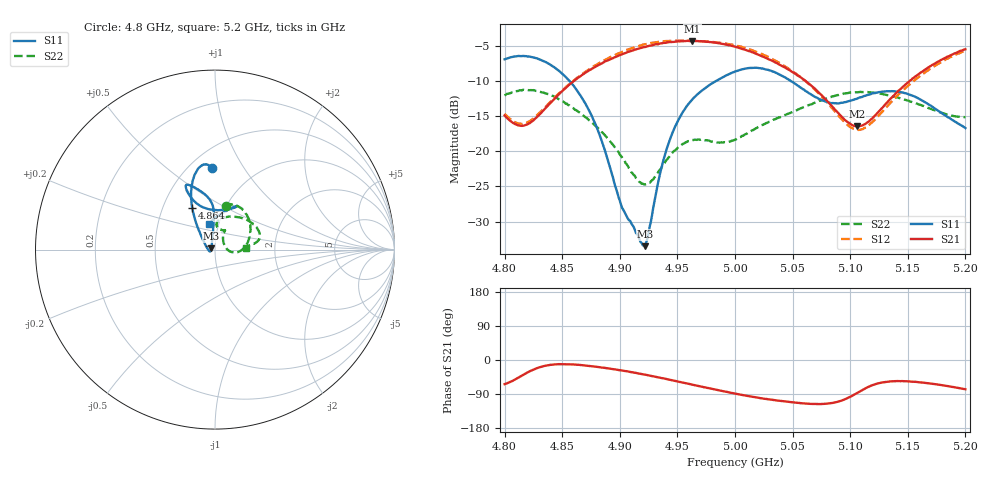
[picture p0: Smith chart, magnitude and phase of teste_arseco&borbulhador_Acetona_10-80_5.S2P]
! Network Analyzer HP8722D
! Hewlett-Packard
! Data name: Linha & Wilkinson
! Saver's name: Rodrigo Anjos
! Comments: Teste da utilização de aquisição
! continua pelo VNA HP8722D
! Time and date: 25/4/2025 15:18
!  Frequency  S11  S21  S12  S22
# HZ  S  MA R 50
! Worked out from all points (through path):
!   401 points, 4.8 GHz to 5.2 GHz, reference 50 ohm
!   highest |S21| = -4.25 dB at 4.963 GHz (marker M1); lowest = -16.4 dB at 5.106 GHz (marker M2)
!   lowest |S11| = -33.5 dB at 4.922 GHz (marker M3), VSWR 1.04, Z = 48 + j0.66 ohm
!   |S11| at or under -10 dB: 4.857 GHz to 4.983 GHz (126.7 MHz wide, 2.58 % of centre); 5.049 GHz to end of sweep
!   |S22| runs from -24.7 to -11.2 dB; largest |S21 - S12| = 1.2
!   S11 on the Smith chart (normalised r, x): 4.8 GHz: 0.64, +0.73; 4.864 GHz: 0.70, +0.35; 5.2 GHz: 0.90, +0.26
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4.8e9  0.4529 92.4  0.1802 -63.7  0.1854 69.2  0.2498 76.3
4.82e9  0.4736 98.8  0.156 -32.6  0.1618 97.8  0.2738 61.6
4.843e9  0.3983 108.3  0.236 -11.8  0.2399 118.3  0.2458 37.6
4.864e9  0.2634 118.7  0.336 -12.6  0.3387 120.6  0.1912 14.6
4.867e9  0.2415 120.3  0.349 -13.6  0.3537 120.3  0.184 11.4
4.882e9  0.1342 130.6  0.4146 -19.0  0.4259 117.6  0.144 -2.3
4.903e9  0.03845 -179.7  0.4947 -28.3  0.5151 110.6  0.08832 -7.4
4.918e9  0.02262 -169.8  0.5443 -36.5  0.5676 102.9  0.06012 14.2
4.922e9  0.02113 161.0  0.554 -38.6  0.5793 100.7  0.05817 24.3
4.925e9  0.02629 138.1  0.5636 -40.6  0.5865 98.9  0.05964 33.1
4.934e9  0.06416 103.8  0.5839 -46.3  0.6043 93.3  0.07274 51.8
4.946e9  0.1373 93.5  0.6023 -53.8  0.6141 85.7  0.09868 61.2
4.963e9  0.2344 92.5  0.6131 -65.1  0.6142 74.8  0.1207 62.1
5e9  0.3705 109.1  0.5573 -88.8  0.5713 50.9  0.1212 81.8
5.03e9  0.3775 115.3  0.4501 -104.0  0.466 33.8  0.1626 83.8
5.067e9  0.2514 107.4  0.291 -115.8  0.2878 23.4  0.2174 56.7
5.085e9  0.2211 91.1  0.2064 -113.2  0.2002 27.8  0.2466 40.4
5.106e9  0.2375 71.2  0.1507 -87.1  0.1426 55.7  0.2635 24.7
5.116e9  0.2531 66.1  0.1629 -70.8  0.1532 73.1  0.2639 19.2
5.134e9  0.2684 63.6  0.2321 -56.7  0.2174 88.5  0.2504 12.5
5.17e9  0.2117 77.5  0.4063 -62.3  0.3902 84.3  0.2009 7.5
5.2e9  0.1466 102.1  0.5342 -77.2  0.5206 70.2  0.1752 3.0
